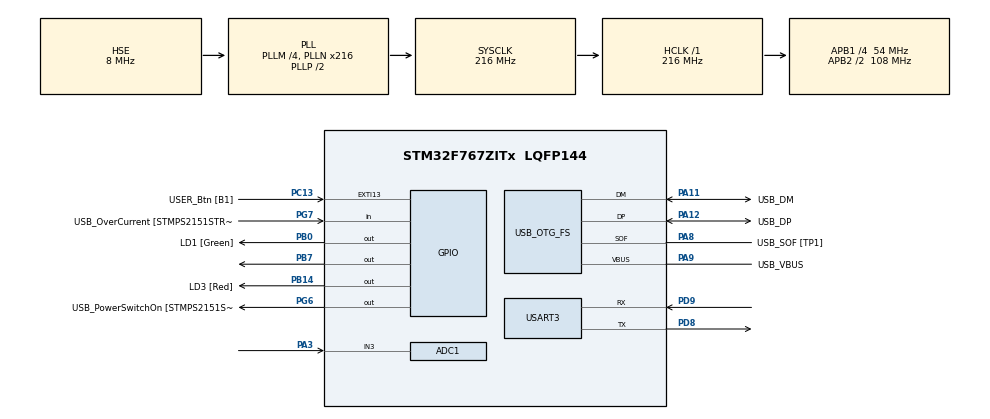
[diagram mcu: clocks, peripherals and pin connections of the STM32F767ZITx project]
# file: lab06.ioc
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ADC1.Channel-2\#ChannelRegularConversion=ADC_CHANNEL_3
ADC1.NbrOfConversionFlag=1
ADC1.Rank-2\#ChannelRegularConversion=1
ADC1.SamplingTime-2\#ChannelRegularConversion=ADC_SAMPLETIME_3CYCLES
ADC1.master=1
Mcu.Family=STM32F7
Mcu.Name=STM32F767ZITx
Mcu.Package=LQFP144
NVIC.ADC_IRQn=true\:2\:0\:true\:false\:true\:true\:true\:true
NVIC.PriorityGroup=NVIC_PRIORITYGROUP_2
NVIC.TIM1_UP_TIM10_IRQn=true\:1\:0\:true\:false\:true\:true\:true\:true
NVIC.TIM2_IRQn=true\:2\:0\:true\:false\:true\:true\:true\:true
PA1.GPIO_Label=RMII_REF_CLK [LAN8742A-CZ-TR_REFCLK0]
PA1.Signal=ETH_REF_CLK
PA10.GPIO_Label=USB_ID
PA10.Signal=USB_OTG_FS_ID
PA11.GPIO_Label=USB_DM
PA11.Mode=Device_Only
PA11.Signal=USB_OTG_FS_DM
PA12.GPIO_Label=USB_DP
PA12.Mode=Device_Only
PA12.Signal=USB_OTG_FS_DP
PA13.GPIO_Label=TMS
PA13.Mode=Serial_Wire
PA13.Signal=SYS_JTMS-SWDIO
PA14.GPIO_Label=TCK
PA14.Mode=Serial_Wire
PA14.Signal=SYS_JTCK-SWCLK
PA2.GPIO_Label=RMII_MDIO [LAN8742A-CZ-TR_MDIO]
PA2.Signal=ETH_MDIO
PA3.Signal=ADCx_IN3
PA7.GPIO_Label=RMII_CRS_DV [LAN8742A-CZ-TR_CRS_DV]
PA7.Signal=ETH_CRS_DV
PA8.GPIO_Label=USB_SOF [TP1]
PA8.Mode=Activate_SOF_FS
PA8.Signal=USB_OTG_FS_SOF
PA9.GPIO_Label=USB_VBUS
PA9.Mode=Activate_VBUS
PA9.Signal=USB_OTG_FS_VBUS
PB0.GPIO_Label=LD1 [Green]
PB0.Signal=GPIO_Output
PB13.GPIO_Label=RMII_TXD1 [LAN8742A-CZ-TR_TXD1]
PB13.Signal=ETH_TXD1
PB14.GPIO_Label=LD3 [Red]
PB14.Signal=GPIO_Output
PB3.GPIO_Label=SWO
PB3.Signal=SYS_JTDO-SWO
PB7.Signal=GPIO_Output
PC1.GPIO_Label=RMII_MDC [LAN8742A-CZ-TR_MDC]
PC1.Signal=ETH_MDC
PC13.GPIO_Label=USER_Btn [B1]
PC13.Signal=GPXTI13
PC14/OSC32_IN.Mode=LSE-External-Oscillator
PC14/OSC32_IN.Signal=RCC_OSC32_IN
PC15/OSC32_OUT.Mode=LSE-External-Oscillator
PC15/OSC32_OUT.Signal=RCC_OSC32_OUT
PC4.GPIO_Label=RMII_RXD0 [LAN8742A-CZ-TR_RXD0]
PC4.Signal=ETH_RXD0
PC5.GPIO_Label=RMII_RXD1 [LAN8742A-CZ-TR_RXD1]
PC5.Signal=ETH_RXD1
PD8.Mode=Asynchronous
PD8.Signal=USART3_TX
PD9.Mode=Asynchronous
PD9.Signal=USART3_RX
PG11.GPIO_Label=RMII_TX_EN [LAN8742A-CZ-TR_TXEN]
PG11.Signal=ETH_TX_EN
PG13.GPIO_Label=RMII_TXD0 [LAN8742A-CZ-TR_TXD0]
PG13.Signal=ETH_TXD0
PG6.GPIO_Label=USB_PowerSwitchOn [STMPS2151STR_EN]
PG6.Signal=GPIO_Output
PG7.GPIO_Label=USB_OverCurrent [STMPS2151STR_FAULT]
PG7.Signal=GPIO_Input
PH0/OSC_IN.GPIO_Label=MCO [STM32F103CBT6_PA8]
PH0/OSC_IN.Mode=HSE-External-Clock-Source
PH0/OSC_IN.Signal=RCC_OSC_IN
PH1/OSC_OUT.Mode=HSE-External-Clock-Source
PH1/OSC_OUT.Signal=RCC_OSC_OUT
ProjectManager.HeapSize=0x200
ProjectManager.StackSize=0x400
ProjectManager.TargetToolchain=STM32CubeIDE
RCC.48MHZClocksFreq_Value=24000000
RCC.AHBFreq_Value=216000000
RCC.APB1CLKDivider=RCC_HCLK_DIV4
RCC.APB1Freq_Value=54000000
RCC.APB1TimFreq_Value=108000000
RCC.APB2CLKDivider=RCC_HCLK_DIV2
RCC.APB2Freq_Value=108000000
RCC.APB2TimFreq_Value=216000000
RCC.CortexFreq_Value=216000000
RCC.HCLKFreq_Value=216000000
RCC.HSE_VALUE=8000000
RCC.HSI_VALUE=16000000
RCC.PLLM=4
RCC.PLLMUL=RCC_PLL_MUL9
RCC.PLLN=216
RCC.PLLQ=9
RCC.PRESCALERUSB=RCC_USBCLKSOURCE_PLL_DIV1_5
RCC.SYSCLKFreq_VALUE=216000000
RCC.SYSCLKSource=RCC_SYSCLKSOURCE_PLLCLK
RCC.SYSCLKSourceVirtual=RCC_SYSCLKSOURCE_PLLCLK
RCC.USBFreq_Value=48000000
RCC.VCOOutputFreq_Value=432000000
SH.ADCx_IN3.0=ADC1_IN3,IN3
TIM1.Period=1000-1
TIM1.Prescaler=216-1
TIM2.Period=4000-1
TIM2.Prescaler=10800-1
TIM2.TIM_MasterOutputTrigger=TIM_TRGO_UPDATE
USART3.VirtualMode-Asynchronous=VM_ASYNC
USB_OTG_FS.VirtualMode=Device_Only
VP_TIM1_VS_ClockSourceINT.Mode=Internal
VP_TIM2_VS_ClockSourceINT.Mode=Internal
board=NUCLEO-F767ZI

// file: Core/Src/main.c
/* USER CODE BEGIN Header */
/**
  ******************************************************************************
  * @file           : main.c
  * @brief          : Main program body
  ******************************************************************************
  * @attention
  *
  * Copyright (c) 2025 STMicroelectronics.
  * All rights reserved.
  *
  * This software is licensed under terms that can be found in the LICENSE file
  * in the root directory of this software component.
  * If no LICENSE file comes with this software, it is provided AS-IS.
  *
  ******************************************************************************
  */
/* USER CODE END Header */
#include "main.h"
#include "adc.h"
#include "tim.h"
#include "usart.h"
#include "usb_otg.h"
#include "gpio.h"

/* USER CODE BEGIN Includes */
#include <stdio.h>
#include "string.h"
/* USER CODE END Includes */

/* USER CODE BEGIN PV */
uint32_t millisecond = 0;
uint32_t second = 0;
uint32_t minute = 0;
uint32_t time = 0;
/* USER CODE END PV */

void SystemClock_Config(void);

/* USER CODE BEGIN 0 */
void PrintTime(uint32_t m, uint32_t s)
{
    char msg[16];
    int len = snprintf(msg, sizeof(msg), "%02lu:%02lu\r", m, s);
    HAL_UART_Transmit(&huart3, (uint8_t*)msg, len, HAL_MAX_DELAY);
}
/* USER CODE END 0 */

int main(void)
{

  /* MCU Configuration--------------------------------------------------------*/

  /* Reset of all peripherals, Initializes the Flash interface and the Systick. */
  HAL_Init();

  /* Configure the system clock */
  SystemClock_Config();

  /* Initialize all configured peripherals */
  MX_GPIO_Init();
  MX_USART3_UART_Init();
  MX_USB_OTG_FS_PCD_Init();
  MX_ADC1_Init();
  MX_TIM2_Init();
  MX_TIM1_Init();
  /* USER CODE BEGIN 2 */
  HAL_TIM_Base_Start_IT(&htim1);
  HAL_TIM_Base_Start_IT(&htim2);
  /* USER CODE END 2 */

  /* Infinite loop */
  while (1)
  {

    /* USER CODE BEGIN 3 */
		if(time >= 1)
		{
			time = 0;
			PrintTime(minute, second);
		}
  }
  /* USER CODE END 3 */
}

void SystemClock_Config(void)
{
  RCC_OscInitTypeDef RCC_OscInitStruct = {0};
  RCC_ClkInitTypeDef RCC_ClkInitStruct = {0};

  /** Configure LSE Drive Capability
  */
  HAL_PWR_EnableBkUpAccess();

  /** Configure the main internal regulator output voltage
  */
  __HAL_RCC_PWR_CLK_ENABLE();
  __HAL_PWR_VOLTAGESCALING_CONFIG(PWR_REGULATOR_VOLTAGE_SCALE1);

  /** Initializes the RCC Oscillators according to the specified parameters
  * in the RCC_OscInitTypeDef structure.
  */
  RCC_OscInitStruct.OscillatorType = RCC_OSCILLATORTYPE_HSE;
  RCC_OscInitStruct.HSEState = RCC_HSE_BYPASS;
  RCC_OscInitStruct.PLL.PLLState = RCC_PLL_ON;
  RCC_OscInitStruct.PLL.PLLSource = RCC_PLLSOURCE_HSE;
  RCC_OscInitStruct.PLL.PLLM = 4;
  RCC_OscInitStruct.PLL.PLLN = 216;
  RCC_OscInitStruct.PLL.PLLP = RCC_PLLP_DIV2;
  RCC_OscInitStruct.PLL.PLLQ = 9;
  RCC_OscInitStruct.PLL.PLLR = 2;
  if (HAL_RCC_OscConfig(&RCC_OscInitStruct) != HAL_OK)
  {
    Error_Handler();
  }

  /** Activate the Over-Drive mode
  */
  if (HAL_PWREx_EnableOverDrive() != HAL_OK)
  {
    Error_Handler();
  }

  /** Initializes the CPU, AHB and APB buses clocks
  */
  RCC_ClkInitStruct.ClockType = RCC_CLOCKTYPE_HCLK|RCC_CLOCKTYPE_SYSCLK
                              |RCC_CLOCKTYPE_PCLK1|RCC_CLOCKTYPE_PCLK2;
  RCC_ClkInitStruct.SYSCLKSource = RCC_SYSCLKSOURCE_PLLCLK;
  RCC_ClkInitStruct.AHBCLKDivider = RCC_SYSCLK_DIV1;
  RCC_ClkInitStruct.APB1CLKDivider = RCC_HCLK_DIV4;
  RCC_ClkInitStruct.APB2CLKDivider = RCC_HCLK_DIV2;

  if (HAL_RCC_ClockConfig(&RCC_ClkInitStruct, FLASH_LATENCY_7) != HAL_OK)
  {
    Error_Handler();
  }
}

void Error_Handler(void)
{
  __disable_irq();
  while (1)
  {
  }
}
